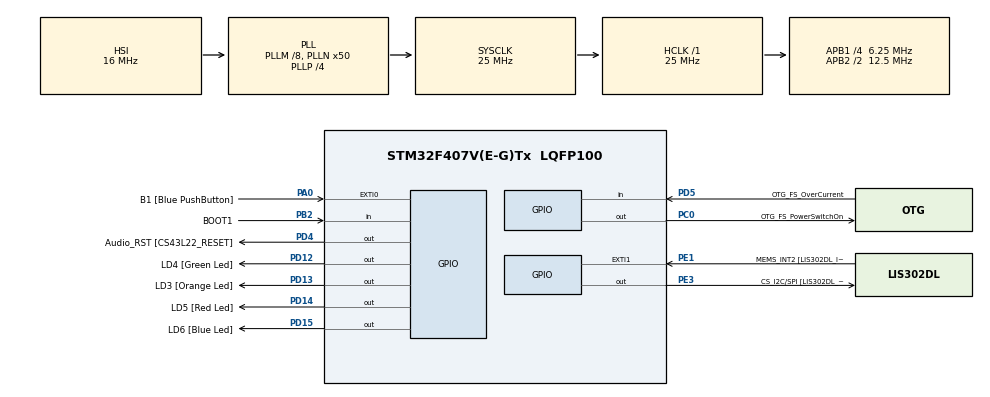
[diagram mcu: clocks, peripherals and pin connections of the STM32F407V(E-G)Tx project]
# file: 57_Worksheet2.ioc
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Mcu.Family=STM32F4
Mcu.Name=STM32F407V(E-G)Tx
Mcu.Package=LQFP100
NVIC.EXTI0_IRQn=true\:0\:0\:false\:false\:true\:true\:true\:true
NVIC.PriorityGroup=NVIC_PRIORITYGROUP_0
PA0-WKUP.GPIO_Label=B1 [Blue PushButton]
PA0-WKUP.Signal=GPXTI0
PA10.GPIO_Label=OTG_FS_ID
PA10.GPIO_Mode=GPIO_MODE_AF_PP
PA10.GPIO_PuPd=GPIO_NOPULL
PA10.GPIO_Speed=GPIO_SPEED_FREQ_LOW
PA10.Signal=USB_OTG_FS_ID
PA11.GPIO_Label=OTG_FS_DM
PA11.GPIO_Mode=GPIO_MODE_AF_PP
PA11.GPIO_PuPd=GPIO_NOPULL
PA11.GPIO_Speed=GPIO_SPEED_FREQ_LOW
PA11.Signal=USB_OTG_FS_DM
PA12.GPIO_Label=OTG_FS_DP
PA12.GPIO_Mode=GPIO_MODE_AF_PP
PA12.GPIO_PuPd=GPIO_NOPULL
PA12.GPIO_Speed=GPIO_SPEED_FREQ_LOW
PA12.Signal=USB_OTG_FS_DP
PA13.GPIO_Label=SWDIO
PA13.Signal=SYS_JTMS-SWDIO
PA14.GPIO_Label=SWCLK
PA14.Signal=SYS_JTCK-SWCLK
PA4.GPIO_Label=I2S3_WS [CS43L22_LRCK]
PA4.GPIO_Mode=GPIO_MODE_AF_PP
PA4.GPIO_PuPd=GPIO_NOPULL
PA4.GPIO_Speed=GPIO_SPEED_FREQ_LOW
PA4.Signal=I2S3_WS
PA5.GPIO_Label=SPI1_SCK [LIS302DL_SCL/SPC]
PA5.GPIO_Mode=GPIO_MODE_AF_PP
PA5.GPIO_PuPd=GPIO_NOPULL
PA5.GPIO_Speed=GPIO_SPEED_FREQ_LOW
PA5.Signal=SPI1_SCK
PA6.GPIO_Label=SPI1_MISO [LIS302DL_SDO]
PA6.GPIO_Mode=GPIO_MODE_AF_PP
PA6.GPIO_PuPd=GPIO_NOPULL
PA6.GPIO_Speed=GPIO_SPEED_FREQ_LOW
PA6.Signal=SPI1_MISO
PA7.GPIO_Label=SPI1_MOSI [LIS302DL_SDA/SDI/SDO]
PA7.GPIO_Mode=GPIO_MODE_AF_PP
PA7.GPIO_PuPd=GPIO_NOPULL
PA7.GPIO_Speed=GPIO_SPEED_FREQ_LOW
PA7.Signal=SPI1_MOSI
PA9.GPIO_Label=VBUS_FS
PA9.GPIO_Mode=GPIO_MODE_INPUT
PA9.GPIO_PuPd=GPIO_NOPULL
PA9.Signal=USB_OTG_FS_VBUS
PB10.GPIO_Label=CLK_IN [MP45DT02_CLK]
PB10.GPIO_Mode=GPIO_MODE_AF_PP
PB10.GPIO_PuPd=GPIO_NOPULL
PB10.GPIO_Speed=GPIO_SPEED_FREQ_LOW
PB10.Signal=I2S2_CK
PB2.GPIO_Label=BOOT1
PB2.GPIO_Mode=GPIO_MODE_INPUT
PB2.GPIO_PuPd=GPIO_NOPULL
PB2.Signal=GPIO_Input
PB3.GPIO_Label=SWO
PB3.Signal=SYS_JTDO-SWO
PB6.GPIO_Label=Audio_SCL [CS43L22_SCL]
PB6.GPIO_Mode=GPIO_MODE_AF_OD
PB6.GPIO_PuPd=GPIO_NOPULL
PB6.GPIO_Speed=GPIO_SPEED_FREQ_LOW
PB6.Signal=I2C1_SCL
PB9.GPIO_Label=Audio_SDA [CS43L22_SDA]
PB9.GPIO_Mode=GPIO_MODE_AF_OD
PB9.GPIO_PuPd=GPIO_NOPULL
PB9.GPIO_Speed=GPIO_SPEED_FREQ_LOW
PB9.Signal=I2C1_SDA
PC0.GPIO_Label=OTG_FS_PowerSwitchOn
PC0.GPIO_PuPd=GPIO_NOPULL
PC0.GPIO_Speed=GPIO_SPEED_FREQ_LOW
PC0.PinState=GPIO_PIN_SET
PC0.Signal=GPIO_Output
PC10.GPIO_Label=I2S3_SCK [CS43L22_SCLK]
PC10.GPIO_Mode=GPIO_MODE_AF_PP
PC10.GPIO_PuPd=GPIO_NOPULL
PC10.GPIO_Speed=GPIO_SPEED_FREQ_LOW
PC10.Signal=I2S3_CK
PC12.GPIO_Label=I2S3_SD [CS43L22_SDIN]
PC12.GPIO_Mode=GPIO_MODE_AF_PP
PC12.GPIO_PuPd=GPIO_NOPULL
PC12.GPIO_Speed=GPIO_SPEED_FREQ_LOW
PC12.Signal=I2S3_SD
PC14-OSC32_IN.GPIO_Label=PC14-OSC32_IN
PC14-OSC32_IN.Signal=RCC_OSC32_IN
PC15-OSC32_OUT.GPIO_Label=PC15-OSC32_OUT
PC15-OSC32_OUT.Signal=RCC_OSC32_OUT
PC3.GPIO_Label=PDM_OUT [MP45DT02_DOUT]
PC3.GPIO_Mode=GPIO_MODE_AF_PP
PC3.GPIO_PuPd=GPIO_NOPULL
PC3.GPIO_Speed=GPIO_SPEED_FREQ_LOW
PC3.Signal=I2S2_SD
PC7.GPIO_Label=I2S3_MCK [CS43L22_MCLK]
PC7.GPIO_Mode=GPIO_MODE_AF_PP
PC7.GPIO_PuPd=GPIO_NOPULL
PC7.GPIO_Speed=GPIO_SPEED_FREQ_LOW
PC7.Signal=I2S3_MCK
PD12.GPIO_Label=LD4 [Green Led]
PD12.GPIO_PuPd=GPIO_NOPULL
PD12.GPIO_Speed=GPIO_SPEED_FREQ_LOW
PD12.Signal=GPIO_Output
PD13.GPIO_Label=LD3 [Orange Led]
PD13.GPIO_PuPd=GPIO_NOPULL
PD13.GPIO_Speed=GPIO_SPEED_FREQ_LOW
PD13.Signal=GPIO_Output
PD14.GPIO_Label=LD5 [Red Led]
PD14.GPIO_PuPd=GPIO_NOPULL
PD14.GPIO_Speed=GPIO_SPEED_FREQ_LOW
PD14.Signal=GPIO_Output
PD15.GPIO_Label=LD6 [Blue Led]
PD15.GPIO_PuPd=GPIO_NOPULL
PD15.GPIO_Speed=GPIO_SPEED_FREQ_LOW
PD15.Signal=GPIO_Output
PD4.GPIO_Label=Audio_RST [CS43L22_RESET]
PD4.GPIO_PuPd=GPIO_NOPULL
PD4.GPIO_Speed=GPIO_SPEED_FREQ_LOW
PD4.Signal=GPIO_Output
PD5.GPIO_Label=OTG_FS_OverCurrent
PD5.GPIO_Mode=GPIO_MODE_INPUT
PD5.GPIO_PuPd=GPIO_NOPULL
PD5.Signal=GPIO_Input
PE1.GPIO_Label=MEMS_INT2 [LIS302DL_INT2]
PE1.GPIO_ModeDefaultEXTI=GPIO_MODE_EVT_RISING
PE1.GPIO_PuPd=GPIO_NOPULL
PE1.Signal=GPXTI1
PE3.GPIO_Label=CS_I2C/SPI [LIS302DL_CS_I2C/SPI]
PE3.GPIO_PuPd=GPIO_NOPULL
PE3.GPIO_Speed=GPIO_SPEED_FREQ_LOW
PE3.Signal=GPIO_Output
PH0-OSC_IN.GPIO_Label=PH0-OSC_IN
PH0-OSC_IN.Signal=RCC_OSC_IN
PH1-OSC_OUT.GPIO_Label=PH1-OSC_OUT
PH1-OSC_OUT.Signal=RCC_OSC_OUT
ProjectManager.HeapSize=0x200
ProjectManager.StackSize=0x400
ProjectManager.TargetToolchain=STM32CubeIDE
RCC.48MHZClocksFreq_Value=14285714.285714285
RCC.AHBFreq_Value=25000000
RCC.APB1CLKDivider=RCC_HCLK_DIV4
RCC.APB1Freq_Value=6250000
RCC.APB1TimFreq_Value=12500000
RCC.APB2CLKDivider=RCC_HCLK_DIV2
RCC.APB2Freq_Value=12500000
RCC.APB2TimFreq_Value=25000000
RCC.CortexFreq_Value=25000000
RCC.HCLKFreq_Value=25000000
RCC.HSE_VALUE=8000000
RCC.HSI_VALUE=16000000
RCC.LSE_VALUE=32768
RCC.PLLM=8
RCC.PLLN=50
RCC.PLLP=RCC_PLLP_DIV4
RCC.PLLQ=7
RCC.SYSCLKFreq_VALUE=25000000
RCC.SYSCLKSource=RCC_SYSCLKSOURCE_PLLCLK
RCC.VCOOutputFreq_Value=100000000
board=STM32F407G-DISC1

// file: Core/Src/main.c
/* USER CODE BEGIN Header */
/**
  ******************************************************************************
  * @file           : main.c
  * @brief          : Main program body
  ******************************************************************************
  * @attention
  *
  * Copyright (c) 2026 STMicroelectronics.
  * All rights reserved.
  *
  * This software is licensed under terms that can be found in the LICENSE file
  * in the root directory of this software component.
  * If no LICENSE file comes with this software, it is provided AS-IS.
  *
  ******************************************************************************
  */
/* USER CODE END Header */
#include "main.h"

/* USER CODE BEGIN PV */
int temperature = 20;
int temp_log[20];
int log_index = 0;
/* USER CODE END PV */

void SystemClock_Config(void);
static void MX_GPIO_Init(void);

int main(void)
{

  /* MCU Configuration--------------------------------------------------------*/

  /* Reset of all peripherals, Initializes the Flash interface and the Systick. */
  HAL_Init();

  /* Configure the system clock */
  SystemClock_Config();

  /* Initialize all configured peripherals */
  MX_GPIO_Init();

  /* Infinite loop */
  while (1)
  {

    /* USER CODE BEGIN 3 */
	  HAL_GPIO_WritePin(GPIOD,
	                    GPIO_PIN_12|GPIO_PIN_13|
	                    GPIO_PIN_14|GPIO_PIN_15,
	                    GPIO_PIN_RESET);

	  if(temperature < 25)
	  {
	      HAL_GPIO_WritePin(GPIOD, GPIO_PIN_12, GPIO_PIN_SET);
	  }
	  else if(temperature >= 25 && temperature <= 35)
	  {
	      HAL_GPIO_WritePin(GPIOD, GPIO_PIN_13, GPIO_PIN_SET);
	  }
	  else if(temperature > 35 && temperature <= 40)
	  {
	      HAL_GPIO_WritePin(GPIOD, GPIO_PIN_14, GPIO_PIN_SET);
	  }
	  else
	  {
	      for(int i=0;i<3;i++)
	      {
	          HAL_GPIO_TogglePin(GPIOD, GPIO_PIN_15);
	          HAL_Delay(100);
	          HAL_GPIO_TogglePin(GPIOD, GPIO_PIN_15);
	          HAL_Delay(100);
	      }
	  }

	  HAL_Delay(200);
  }
  /* USER CODE END 3 */
}

void SystemClock_Config(void)
{
  RCC_OscInitTypeDef RCC_OscInitStruct = {0};
  RCC_ClkInitTypeDef RCC_ClkInitStruct = {0};

  /** Configure the main internal regulator output voltage
  */
  __HAL_RCC_PWR_CLK_ENABLE();
  __HAL_PWR_VOLTAGESCALING_CONFIG(PWR_REGULATOR_VOLTAGE_SCALE1);

  /** Initializes the RCC Oscillators according to the specified parameters
  * in the RCC_OscInitTypeDef structure.
  */
  RCC_OscInitStruct.OscillatorType = RCC_OSCILLATORTYPE_HSI;
  RCC_OscInitStruct.HSIState = RCC_HSI_ON;
  RCC_OscInitStruct.HSICalibrationValue = RCC_HSICALIBRATION_DEFAULT;
  RCC_OscInitStruct.PLL.PLLState = RCC_PLL_ON;
  RCC_OscInitStruct.PLL.PLLSource = RCC_PLLSOURCE_HSI;
  RCC_OscInitStruct.PLL.PLLM = 8;
  RCC_OscInitStruct.PLL.PLLN = 50;
  RCC_OscInitStruct.PLL.PLLP = RCC_PLLP_DIV4;
  RCC_OscInitStruct.PLL.PLLQ = 7;
  if (HAL_RCC_OscConfig(&RCC_OscInitStruct) != HAL_OK)
  {
    Error_Handler();
  }

  /** Initializes the CPU, AHB and APB buses clocks
  */
  RCC_ClkInitStruct.ClockType = RCC_CLOCKTYPE_HCLK|RCC_CLOCKTYPE_SYSCLK
                              |RCC_CLOCKTYPE_PCLK1|RCC_CLOCKTYPE_PCLK2;
  RCC_ClkInitStruct.SYSCLKSource = RCC_SYSCLKSOURCE_PLLCLK;
  RCC_ClkInitStruct.AHBCLKDivider = RCC_SYSCLK_DIV1;
  RCC_ClkInitStruct.APB1CLKDivider = RCC_HCLK_DIV4;
  RCC_ClkInitStruct.APB2CLKDivider = RCC_HCLK_DIV2;

  if (HAL_RCC_ClockConfig(&RCC_ClkInitStruct, FLASH_LATENCY_0) != HAL_OK)
  {
    Error_Handler();
  }
}

static void MX_GPIO_Init(void)
{
  GPIO_InitTypeDef GPIO_InitStruct = {0};

  /* GPIO Ports Clock Enable */
  __HAL_RCC_GPIOE_CLK_ENABLE();
  __HAL_RCC_GPIOC_CLK_ENABLE();
  __HAL_RCC_GPIOH_CLK_ENABLE();
  __HAL_RCC_GPIOA_CLK_ENABLE();
  __HAL_RCC_GPIOB_CLK_ENABLE();
  __HAL_RCC_GPIOD_CLK_ENABLE();

  /*Configure GPIO pin Output Level */
  HAL_GPIO_WritePin(CS_I2C_SPI_GPIO_Port, CS_I2C_SPI_Pin, GPIO_PIN_RESET);

  /*Configure GPIO pin Output Level */
  HAL_GPIO_WritePin(OTG_FS_PowerSwitchOn_GPIO_Port, OTG_FS_PowerSwitchOn_Pin, GPIO_PIN_SET);

  /*Configure GPIO pin Output Level */
  HAL_GPIO_WritePin(GPIOD, LD4_Pin|LD3_Pin|LD5_Pin|LD6_Pin
                          |Audio_RST_Pin, GPIO_PIN_RESET);

  /*Configure GPIO pin : CS_I2C_SPI_Pin */
  GPIO_InitStruct.Pin = CS_I2C_SPI_Pin;
  GPIO_InitStruct.Mode = GPIO_MODE_OUTPUT_PP;
  GPIO_InitStruct.Pull = GPIO_NOPULL;
  GPIO_InitStruct.Speed = GPIO_SPEED_FREQ_LOW;
  HAL_GPIO_Init(CS_I2C_SPI_GPIO_Port, &GPIO_InitStruct);

  /*Configure GPIO pin : OTG_FS_PowerSwitchOn_Pin */
  GPIO_InitStruct.Pin = OTG_FS_PowerSwitchOn_Pin;
  GPIO_InitStruct.Mode = GPIO_MODE_OUTPUT_PP;
  GPIO_InitStruct.Pull = GPIO_NOPULL;
  GPIO_InitStruct.Speed = GPIO_SPEED_FREQ_LOW;
  HAL_GPIO_Init(OTG_FS_PowerSwitchOn_GPIO_Port, &GPIO_InitStruct);

  /*Configure GPIO pin : PDM_OUT_Pin */
  GPIO_InitStruct.Pin = PDM_OUT_Pin;
  GPIO_InitStruct.Mode = GPIO_MODE_AF_PP;
  GPIO_InitStruct.Pull = GPIO_NOPULL;
  GPIO_InitStruct.Speed = GPIO_SPEED_FREQ_LOW;
  GPIO_InitStruct.Alternate = GPIO_AF5_SPI2;
  HAL_GPIO_Init(PDM_OUT_GPIO_Port, &GPIO_InitStruct);

  /*Configure GPIO pin : B1_Pin */
  GPIO_InitStruct.Pin = B1_Pin;
  GPIO_InitStruct.Mode = GPIO_MODE_IT_RISING;
  GPIO_InitStruct.Pull = GPIO_NOPULL;
  HAL_GPIO_Init(B1_GPIO_Port, &GPIO_InitStruct);

  /*Configure GPIO pin : I2S3_WS_Pin */
  GPIO_InitStruct.Pin = I2S3_WS_Pin;
  GPIO_InitStruct.Mode = GPIO_MODE_AF_PP;
  GPIO_InitStruct.Pull = GPIO_NOPULL;
  GPIO_InitStruct.Speed = GPIO_SPEED_FREQ_LOW;
  GPIO_InitStruct.Alternate = GPIO_AF6_SPI3;
  HAL_GPIO_Init(I2S3_WS_GPIO_Port, &GPIO_InitStruct);

  /*Configure GPIO pins : SPI1_SCK_Pin SPI1_MISO_Pin SPI1_MOSI_Pin */
  GPIO_InitStruct.Pin = SPI1_SCK_Pin|SPI1_MISO_Pin|SPI1_MOSI_Pin;
  GPIO_InitStruct.Mode = GPIO_MODE_AF_PP;
  GPIO_InitStruct.Pull = GPIO_NOPULL;
  GPIO_InitStruct.Speed = GPIO_SPEED_FREQ_LOW;
  GPIO_InitStruct.Alternate = GPIO_AF5_SPI1;
  HAL_GPIO_Init(GPIOA, &GPIO_InitStruct);

  /*Configure GPIO pin : BOOT1_Pin */
  GPIO_InitStruct.Pin = BOOT1_Pin;
  GPIO_InitStruct.Mode = GPIO_MODE_INPUT;
  GPIO_InitStruct.Pull = GPIO_NOPULL;
  HAL_GPIO_Init(BOOT1_GPIO_Port, &GPIO_InitStruct);

  /*Configure GPIO pin : CLK_IN_Pin */
  GPIO_InitStruct.Pin = CLK_IN_Pin;
  GPIO_InitStruct.Mode = GPIO_MODE_AF_PP;
  GPIO_InitStruct.Pull = GPIO_NOPULL;
  GPIO_InitStruct.Speed = GPIO_SPEED_FREQ_LOW;
  GPIO_InitStruct.Alternate = GPIO_AF5_SPI2;
  HAL_GPIO_Init(CLK_IN_GPIO_Port, &GPIO_InitStruct);

  /*Configure GPIO pins : LD4_Pin LD3_Pin LD5_Pin LD6_Pin
                           Audio_RST_Pin */
  GPIO_InitStruct.Pin = LD4_Pin|LD3_Pin|LD5_Pin|LD6_Pin
                          |Audio_RST_Pin;
  GPIO_InitStruct.Mode = GPIO_MODE_OUTPUT_PP;
  GPIO_InitStruct.Pull = GPIO_NOPULL;
  GPIO_InitStruct.Speed = GPIO_SPEED_FREQ_LOW;
  HAL_GPIO_Init(GPIOD, &GPIO_InitStruct);

  /*Configure GPIO pins : I2S3_MCK_Pin I2S3_SCK_Pin I2S3_SD_Pin */
  GPIO_InitStruct.Pin = I2S3_MCK_Pin|I2S3_SCK_Pin|I2S3_SD_Pin;
  GPIO_InitStruct.Mode = GPIO_MODE_AF_PP;
  GPIO_InitStruct.Pull = GPIO_NOPULL;
  GPIO_InitStruct.Speed = GPIO_SPEED_FREQ_LOW;
  GPIO_InitStruct.Alternate = GPIO_AF6_SPI3;
  HAL_GPIO_Init(GPIOC, &GPIO_InitStruct);

  /*Configure GPIO pin : VBUS_FS_Pin */
  GPIO_InitStruct.Pin = VBUS_FS_Pin;
  GPIO_InitStruct.Mode = GPIO_MODE_INPUT;
  GPIO_InitStruct.Pull = GPIO_NOPULL;
  HAL_GPIO_Init(VBUS_FS_GPIO_Port, &GPIO_InitStruct);

  /*Configure GPIO pins : OTG_FS_ID_Pin OTG_FS_DM_Pin OTG_FS_DP_Pin */
  GPIO_InitStruct.Pin = OTG_FS_ID_Pin|OTG_FS_DM_Pin|OTG_FS_DP_Pin;
  GPIO_InitStruct.Mode = GPIO_MODE_AF_PP;
  GPIO_InitStruct.Pull = GPIO_NOPULL;
  GPIO_InitStruct.Speed = GPIO_SPEED_FREQ_LOW;
  GPIO_InitStruct.Alternate = GPIO_AF10_OTG_FS;
  HAL_GPIO_Init(GPIOA, &GPIO_InitStruct);

  /*Configure GPIO pin : OTG_FS_OverCurrent_Pin */
  GPIO_InitStruct.Pin = OTG_FS_OverCurrent_Pin;
  GPIO_InitStruct.Mode = GPIO_MODE_INPUT;
  GPIO_InitStruct.Pull = GPIO_NOPULL;
  HAL_GPIO_Init(OTG_FS_OverCurrent_GPIO_Port, &GPIO_InitStruct);

  /*Configure GPIO pins : Audio_SCL_Pin Audio_SDA_Pin */
  GPIO_InitStruct.Pin = Audio_SCL_Pin|Audio_SDA_Pin;
  GPIO_InitStruct.Mode = GPIO_MODE_AF_OD;
  GPIO_InitStruct.Pull = GPIO_NOPULL;
  GPIO_InitStruct.Speed = GPIO_SPEED_FREQ_LOW;
  GPIO_InitStruct.Alternate = GPIO_AF4_I2C1;
  HAL_GPIO_Init(GPIOB, &GPIO_InitStruct);

  /*Configure GPIO pin : MEMS_INT2_Pin */
  GPIO_InitStruct.Pin = MEMS_INT2_Pin;
  GPIO_InitStruct.Mode = GPIO_MODE_EVT_RISING;
  GPIO_InitStruct.Pull = GPIO_NOPULL;
  HAL_GPIO_Init(MEMS_INT2_GPIO_Port, &GPIO_InitStruct);

  /* EXTI interrupt init*/
  HAL_NVIC_SetPriority(EXTI0_IRQn, 0, 0);
  HAL_NVIC_EnableIRQ(EXTI0_IRQn);

}

/* USER CODE BEGIN 4 */
void HAL_GPIO_EXTI_Callback(uint16_t GPIO_Pin)
{
    if(GPIO_Pin == GPIO_PIN_0)
    {
        temperature += 5;

        if(temperature > 50)
            temperature = 20;

        temp_log[log_index++] = temperature;

        if(log_index >= 20)
            log_index = 0;
    }
}
/* USER CODE END 4 */

void Error_Handler(void)
{
  __disable_irq();
  while (1)
  {
  }
}
